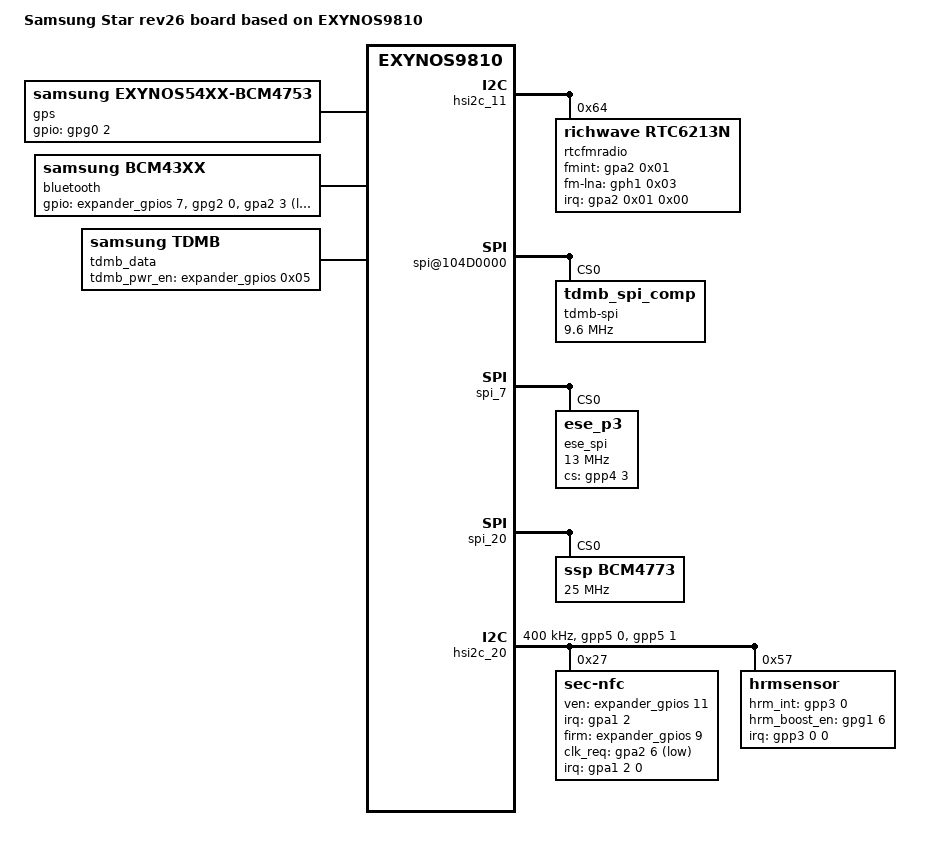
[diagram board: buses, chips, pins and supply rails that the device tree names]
/dts-v1/;
#include "exynos9810-starlte_common.dtsi"
#include "battery_data_starlte_eur_18.dtsi"
#include "exynos9810-starlte_fingerprint_16.dtsi"
#include "exynos9810-starlte_mst_01.dtsi"
#include "exynos9810-starlte_if-pmic-max77705.dtsi"
#include "exynos9810-starlte_eur_open_gpio_18.dtsi"

/ {
	compatible = "Samsung, Star rev26", "Samsung,EXYNOS9810";
	model = "Samsung Star rev26 board based on EXYNOS9810";
	model_info-chip = <9810>;
	model_info-platform = "android";
	model_info-subtype = "samsung";
	model_info-hw_rev = <26>;
	model_info-hw_rev_end = <255>;

	reserved_memory: reserved-memory {
		rkp_region: rkp_region@0xAF800000 {
			compatible = "removed-dma-pool";
			reg = <0x00 0xaf800000 0x1800000>;
		};

		tima_mem: tima_region@0xB8000000 {
			no-map;
		};
	};

	pinctrl_0: pinctrl@14050000 {
		initial0: initial-state {
			gpa3-0 {
				samsung,pins = "gpa3-0";
				samsung,pin-function = <0x00>;
				samsung,pin-pud = <0x00>;
			};

			gpq0-5 {
				samsung,pins = "gpq0-5";
				samsung,pin-function = <0x00>;
				samsung,pin-pud = <0x01>;
			};
		};

		fmradio_int: fmradio-int {
			samsung,pins = "gpa2-1";
			samsung,pin-function = <0x0f>;
			samsung,pin-pud = <0x00>;
			samsung,pin-drv = <0x03>;
		};

		bt_hostwake: bt-hostwake {
			samsung,pins = "gpa2-3";
			samsung,pin-function = <0>;
			samsung,pin-pud = <0>;
		};
	};

	pinctrl_2: pinctrl@13A80000 {
		tdmb_ant_on: tdmb-ant-on {
			samsung,pins = "gph1-0";
			samsung,pin-function = <0x01>;
			samsung,pin-pud = <0x00>;
			samsung,pin-val = <0x01>;
		};

		tdmb_ant_off: tdmb-ant-off {
			samsung,pins = "gph1-0";
			samsung,pin-function = <0x01>;
			samsung,pin-pud = <0x00>;
			samsung,pin-val = <0x00>;
		};

		fm_lna_en: fm-lna-en {
			samsung,pins = "gph1-3";
			samsung,pin-function = <0x01>;
			samsung,pin-pud = <0x01>;
			samsung,pin-con-pdn = <0x03>;
			samsung,pin-pud-pdn = <0x01>;
		};
	};

	pinctrl_3: pinctrl@14220000 {
		tdmb_irq_on: tdmb-irq-on {
			samsung,pins = "gpm40-0";
			samsung,pin-function = <0x0f>;
			samsung,pin-pud = <0x00>;
		};

		tdmb_irq_off: tdmb-irq-off {
			samsung,pins = "gpm40-0";
			samsung,pin-function = <0x00>;
			samsung,pin-pud = <0x01>;
		};
	};

	pinctrl@11430000 {
		sd2_cmd: sd2-cmd {
			samsung,pins = "gpf1-1";
			samsung,pin-function = <2>;
			samsung,pin-pud = <0>;
			samsung,pin-drv = <3>;
		};

		sd2_bus1: sd2-bus-width1 {
			samsung,pins = "gpf1-2";
			samsung,pin-function = <2>;
			samsung,pin-pud = <0>;
			samsung,pin-drv = <3>;
		};

		sd2_bus4: sd2-bus-width4 {
			samsung,pins = "gpf1-3", "gpf1-4", "gpf1-5";
			samsung,pin-function = <2>;
			samsung,pin-pud = <0>;
			samsung,pin-drv = <3>;
		};
	};

	pinctrl_6: pinctrl@10430000 {
		spi1_bus: spi1-bus {
			samsung,pin-pud = <0x03>;
			samsung,pin-drv = <0x00>;
		};

		spi1_cs_func: spi1-cs-func {
			samsung,pin-drv = <0x00>;
		};

		spi5_idle: spi5-idle {
			samsung,pins = "gpp2-3", "gpp2-2", "gpp2-1", "gpp2-0";
			samsung,pin-function = <0x00>;
			samsung,pin-pud = <0x01>;
			samsung,pin-drv = <0x00>;
		};

		hrm_en: hrm-en {
			samsung,pins = "gpg1-6";
			samsung,pin-function = <0>;
			samsung,pin-pud = <1>;
			samsung,pin-drv = <2>;
		};

		hrm_ensleep: hrm-ensleep {
			samsung,pins = "gpg1-6";
			samsung,pin-con-pdn = <2>;
			samsung,pin-pud-pdn = <1>;
		};

		hrm_enidle: hrm-enidle {
			samsung,pins = "gpg1-6";
			samsung,pin-function = <0>;
			samsung,pin-pud = <1>;
			samsung,pin-drv = <2>;
		};

		cfg_wlanen: cfg_wlanen {
			samsung,pins = "gpg0-5";
			samsung,pin-function = <1>;
			samsung,pin-pud = <0>; /* NONE */
			samsung,pin-drv = <3>;
			samsung,pin-con-pdn = <3>;
		};

		ssp_gps_pwr_en: ssp-gps-pwr-en {
			samsung,pins = "gpg0-2";
			samsung,pin-function = <1>;
			samsung,pin-pud = <1>;
			samsung,pin-drv = <3>;
			samsung,pin-con-pdn = <3>;
			samsung,pin-pud-pdn = <0>;
		};

		bt_btwake: bt-btwake {
			samsung,pins = "gpg2-0";
			samsung,pin-function = <1>;
			samsung,pin-pud = <0>;
			samsung,pin-con-pdn = <3>;
			samsung,pin-pud-pdn = <0>;
		};
	};

	pinctrl@10830000 {
		spi7_bus_suspend: spi7-bus-suspend {
			samsung,pins = "gpp4-2", "gpp4-1", "gpp4-0";
			samsung,pin-function = <0>;	/* INPUT */
			samsung,pin-pud = <1>;		/* DOWN */
			samsung,pin-drv = <0>;
		};
		spi7_cs_suspend: spi7-cs-suspend {
			samsung,pins = "gpp4-3";
			samsung,pin-function = <0>;	/* INPUT */
			samsung,pin-pud = <1>;		/* DOWN */
			samsung,pin-drv = <0>;
		};
	};

	hsi2c_11: hsi2c@104C0000 {
		rtcfmradio@64 {
			compatible = "richwave,rtc6213n", "rtc6213n";
			reg = <0x64>;
			interrupts = <0x01 0x00 0x00>;
			interrupt-parent = <&gpa2>;
			pinctrl-names = "default";
			pinctrl-0 = <&fmradio_int &fm_lna_en>;
			fmint-gpio = <&gpa2 0x01 0x00>;
			fm-lna-gpio = <&gph1 0x03 0x00>;
			volume_db;
			radio_vol = <0x2c 0x2b 0x27 0x24 0x21 0x1e 0x1b 0x18 0x15 0x12 0x0f 0x0c 0x0a 0x08 0x06 0x04>;
		};
	};

	spi@104D0000 {
		pinctrl-names = "default", "idle";
		pinctrl-0 = <&spi5_bus &spi5_cs>;
		status = "ok";
		num-cs = <0x01>;
		pinctrl-1 = <&spi5_idle>;

		tdmb-spi@0 {
			compatible = "tdmb_spi_comp";
			reg = <0x00>;
			spi-max-frequency = <0x927c00>;

			controller-data {
				cs-gpio = <&gpp2 0x03 0x00>;
				samsung,spi-feedback-delay = <0x00>;
			};
		};
	};

	/* SPI USI_PERIC1_USI06_SPI */
	spi_7: spi@108A0000 {
		status = "okay";
		/delete-property/ pinctrl-names;
		/delete-property/ pinctrl-0;

		ese_spi@0 {
			compatible = "ese_p3";
			reg = <0>;
			spi-max-frequency = <13000000>;
			gpio-controller;
			#gpio-cells = <2>;

			p3-vdd-1p8= "VDD_ESE_1P8";

			clocks = <&clock GATE_USI06>, <&clock USI06>;
			clock-names = "pclk", "sclk";
			ese_p3,cs-gpio = <&gpp4 3 0>;

			pinctrl-names = "ese_active", "ese_suspend";
			pinctrl-0 = <&spi7_bus &spi7_cs>;
			pinctrl-1 = <&spi7_bus_suspend &spi7_cs_suspend>;

			controller-data {
				samsung,spi-feedback-delay = <0>;
				samsung,spi-chip-select-mode = <0>;
			};
		};
	};

	spi_20: spi@13AC0000{
		#address-cells = <1>;
		#size-cells = <0>;

		pinctrl-names = "default";
		pinctrl-0 = <&sensorhub_mosi_sck_ssn &sensorhub_miso>;

		num-cs = <1>;
		status = "okay";
	/*
	 *	dma-mode;
	 *	dmas = <&pdma0 21 0
	 *		&pdma0 20 0>;
	 */
		BCM4773@0 {
			compatible = "ssp,BCM4773";
			reg = <0>;
			/* spi-max-frequency = <26000000>; */
			spi-max-frequency = <25000000>;
			spi-cpol;
			spi-cpha;
			pinctrl-names = "default";
			pinctrl-0 = <&ssp_host_req &ssp_mcu_req &ssp_mcu_resp &ssp_batch_wake_irq &ssp_shub_int>;

			gpio-controller;
			#gpio-cells = <2>;
			ssp-host-req = <&gpa1 7 0x00>;
			ssp-mcu-req = <&gph0 5 0x00>;
			ssp-mcu-resp = <&gph0 4 0x00>;
			ssp-batch-wake-irq = <&gpa0 5 0x00>;
			ssp-shub-int = <&gpa4 0 0x00>;
			ssp-acc-position = <4>;
			ssp-mag-position = <5>;
			ssp-sns-combination = <0>;
			ssp-ap-rev = <1>;
			ssp-mag-array = /bits/ 8 <216 82 110 20 16 123 255 209 211 54 70 37 180 8 0 147 255 113 132 121
						190 252 250 15 9 40 180>;
			ssp-thermi-up = /bits/ 16 <3023 2990 2952 2903 2843 2772 2684 2582 2464 2335 2190 2037 1882 1742
						1558 1397 1246 1103 974 851 746 651 601>;
			ssp-thermi-sub = /bits/ 16 <3021 2990 2951 2903 2843 2771 2685 2584 2467 2339 2195 2044 1891
						1747 1567 1409 1258 1115 986 864 759 662 612>;
			ssp-glass-type = <0>;
			ssp-mag-type = <1>;
			ssp-vdd-mcu-1p8 = "vdd_mcu_1p8";

			controller-data {
				cs-gpio = <&gph0 3 0>;
				samsung,spi-feedback-delay = <0>;
			};
		};
	};

	hsi2c_11: hsi2c@104C0000 {
		status = "okay";
	};

	/* USI08_USI */
	hsi2c_20: hsi2c@108E0000 {
		gpios = <&gpp5 0 0 &gpp5 1 0>;
		status = "okay";
		clock-frequency = <400000>;
		sec-nfc@27 {
			compatible = "sec-nfc";
			reg = <0x27>;

			interrupts = <2 0 0>;
			interrupt-parent = <&gpa1>;

			sec-nfc,ven-gpio = <&expander_gpios 11 0>;
			sec-nfc,irq-gpio = <&gpa1 2 0>;
			sec-nfc,firm-gpio = <&expander_gpios 9 0>;
			sec-nfc,clk_req-gpio = <&gpa2 6 0xf>;
			sec-nfc,clk_use = <2>;
			sec-nfc,nfc_pvdd = "VDD_NFC_1P8";

			clocks = <&clock OSC_NFC>;
			clock-names = "oscclk_nfc";
			sec-nfc,nfc_ap_clk;
			sec-nfc,ldo_control;
		};

		hrmsensor@57 {
			compatible = "hrmsensor";
			reg = <0x57>;
			interrupt-parent = <&gpp3>;
			interrupts = <0 0 0>;
			pinctrl-names = "default", "sleep", "idle";
			pinctrl-0 = <&hrm_irq &hrm_en>;
			pinctrl-1 = <&hrm_irqsleep &hrm_ensleep>;
			pinctrl-2 = <&hrm_irqidle &hrm_enidle>;
			hrmsensor,hrm_int-gpio = <&gpp3 0 0>;
			hrmsensor,hrm_boost_en-gpio = <&gpg1 6 0>;
			hrmsensor,vdd_1p8 = "HRM_1.8V_AP";
			hrmsensor,i2c_1p8 = "VDD_NFC_1P8";
		};
	};

	gps {
		compatible = "samsung,exynos54xx-bcm4753";

		pinctrl-names = "hub_en";
		pinctrl-0 = <&ssp_gps_pwr_en>;

		gpios = <&gpg0 2 0x0>;
		status = "okay";
	};

	bluetooth {
		compatible = "samsung,bcm43xx";

		gpios = <&expander_gpios 7 0    /*BT_EN*/
			&gpg2 0 0    /*BT_WAKE*/
			&gpa2 3 0xF    /*BT_HOST_WAKE*/ >;
		pinctrl-names = "default";
		pinctrl-0=<&bt_hostwake &bt_btwake>;
		status = "okay";
	};

	dwmmc2@11500000 {
		ssc-rate = <3>;
	};

	sysmmu_dcf: sysmmu@16A30000 {
		compatible = "samsung,exynos-sysmmu";
		reg = <0x00 0x16a30000 0x9000>;
		interrupts = <0x00 0x144 0x00 0x00 0x145 0x00>;
		qos = <0x0f>;
		clock-names = "aclk";
		clocks = <0x1a 0x16a>;
		port-name = "CIP1/2";
		sysmmu,secure-irq;
		sysmmu,secure_base = <0x16a20000>;
		sysmmu,tlb_property = <0x30a 0x00 0x1030a 0x10001>;
		#iommu-cells = <0x00>;
	};

	iommu-domain_dcf {
		compatible = "samsung,exynos-iommu-bus";
		#address-cells = <0x02>;
		#size-cells = <0x01>;
		ranges;
		domain-clients = <&dummy_dcf>;
	};

	dummy_dcf: dummy_dcf {
		compatible = "samsung,exynos8890-mmu_test";
		reg = <0x00 0xcafe0000 0x1000>;
		interrupts = <0x00 0x00 0x00>;
		iommus = <&sysmmu_dcf>;
	};

	sysmmu_dcrd: sysmmu@16830000 {
		compatible = "samsung,exynos-sysmmu";
		reg = <0x00 0x16830000 0x9000>;
		interrupts = <0x00 0x132 0x00 0x00 0x133 0x00>;
		qos = <0x0f>;
		clock-names = "aclk";
		clocks = <0x1a 0x17f>;
		port-name = "DCP";
		sysmmu,secure-irq;
		sysmmu,secure_base = <0x16820000>;
		sysmmu,tlb_property = <0x1a0 0x00 0x101a0 0x1f0001 0x1020a 0x1f0000 0x1020a 0x1f0001 0x1020a 0x1f0002 0x1020a 0x1f0003 0x1020a 0x1f0004 0x1020a 0x1f0005 0x1020a 0x1f0006 0x1020a 0x1f0007 0x1020a 0x1f0008 0x1020a 0x1f0009 0x1020a 0x1f000a 0x1020a 0x1f000b 0x1020a 0x1f000c 0x1010a 0x1f0002 0x1010a 0x1f0003 0x1010a 0x1f0004 0x1010a 0x1f0005 0x1020a 0x1f000d 0x1020a 0x1f000e>;
		#iommu-cells = <0x00>;
	};

	speedy@141C0000 {
		status = "okay";

		s2mps18mfd@00 {
			regulators {
				ldo37_reg: LDO37 {
					regulator-name = "vdd_mcu_1p8";
					regulator-min-microvolt = <1800000>;
					regulator-max-microvolt = <1800000>;
				};

				ldo45_reg: LDO45 {
					regulator-name = "VDD_FM_2P8";
					regulator-min-microvolt = <0x2ab980>;
					regulator-max-microvolt = <0x2ab980>;
					regulator-ramp-delay = <0x2ee0>;
					regulator-always-on;
				};
			};
		};
	};

	tdmb_data {
		compatible = "samsung,tdmb";
		pinctrl-names = "tdmb_on", "tdmb_off";
		pinctrl-0 = <&tdmb_ant_on &tdmb_irq_on>;
		pinctrl-1 = <&tdmb_ant_off &tdmb_irq_off>;
		tdmb_pwr_en = <&expander_gpios 0x05 0x00>;
		tdmb_irq = <&gpm40 0x00 0x00>;
		tdmb_use_irq;
		tdmb_xtal_freq = <0x5dc0>;
	};
};
